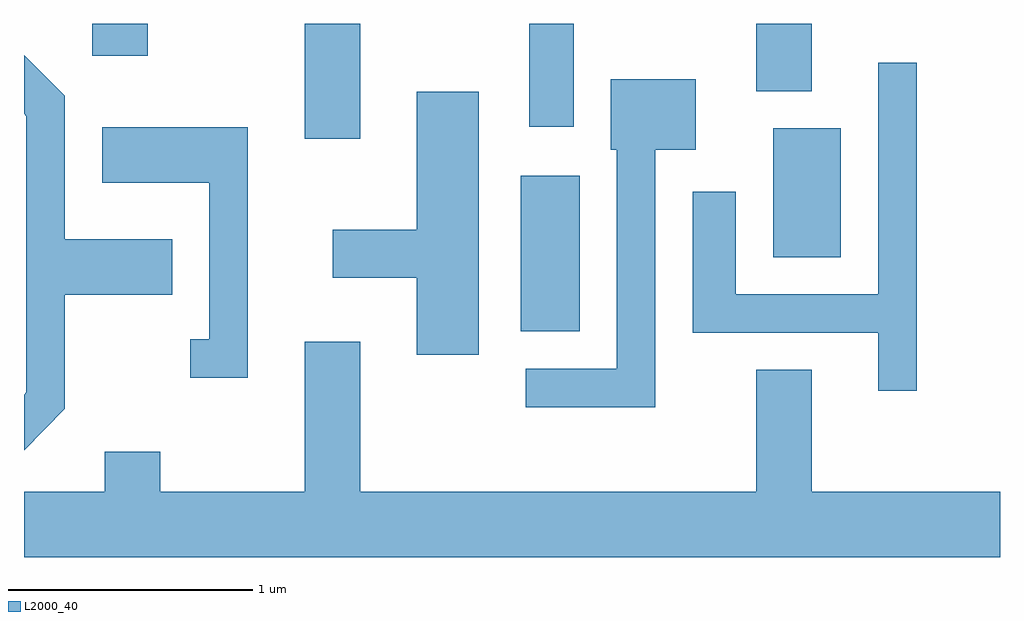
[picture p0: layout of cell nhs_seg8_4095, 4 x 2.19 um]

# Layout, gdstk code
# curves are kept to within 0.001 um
import gdstk
lib = gdstk.Library(unit=1e-6, precision=1e-09)
def R(c, l, rs):  # rectangles x0, y0, x1, y1
    for r in rs: c.add(gdstk.rectangle(r[:2], r[2:], *l))
def P(c, l, *ps):  # polygons
    for p in ps: c.add(gdstk.Polygon(p, *l))
L2000_40 = (2000, 40)

nhs_seg8_4095 = lib.new_cell('nhs_seg8_4095')
R(nhs_seg8_4095, L2000_40, [(309.646,1875.081,309.889,1875.719), (310.681,1875.386,310.959,1875.914), (308.761,1875.871,308.989,1876.342), (309.681,1875.921,309.864,1876.342), (310.611,1876.066,310.839,1876.342), (307.891,1876.211,308.119,1876.342)])
P(nhs_seg8_4095, L2000_40, [(307.779,1874.764),(307.779,1875.231),(308.219,1875.231),(308.219,1875.459),(307.779,1875.459),(307.779,1876.047),(307.611,1876.214),(307.611,1875.974),(307.621,1875.964),(307.621,1874.832),(307.611,1874.822),(307.611,1874.595)],
  [(311.269,1876.183),(311.111,1876.183),(311.111,1875.234),(310.529,1875.234),(310.529,1875.654),(310.351,1875.654),(310.351,1875.076),(311.111,1875.076),(311.111,1874.838),(311.269,1874.838)],
  [(310.199,1875.826),(310.364,1875.826),(310.364,1876.114),(310.016,1876.114),(310.016,1875.826),(310.041,1875.826),(310.041,1874.929),(309.668,1874.929),(309.668,1874.771),(310.199,1874.771)],
  [(309.474,1876.064),(309.221,1876.064),(309.221,1875.499),(308.876,1875.499),(308.876,1875.301),(309.221,1875.301),(309.221,1874.986),(309.474,1874.986)],
  [(308.529,1875.919),(307.931,1875.919),(307.931,1875.691),(308.371,1875.691),(308.371,1875.049),(308.293,1875.049),(308.293,1874.891),(308.529,1874.891)],
  [(311.611,1874.424),(310.839,1874.424),(310.839,1874.924),(310.611,1874.924),(310.611,1874.424),(308.989,1874.424),(308.989,1875.039),(308.761,1875.039),(308.761,1874.424),(308.169,1874.424),(308.169,1874.589),(307.941,1874.589),(307.941,1874.424),(307.611,1874.424),(307.611,1874.156),(311.611,1874.156)])

lib.write_gds('nhs_seg8_4095.gds')
